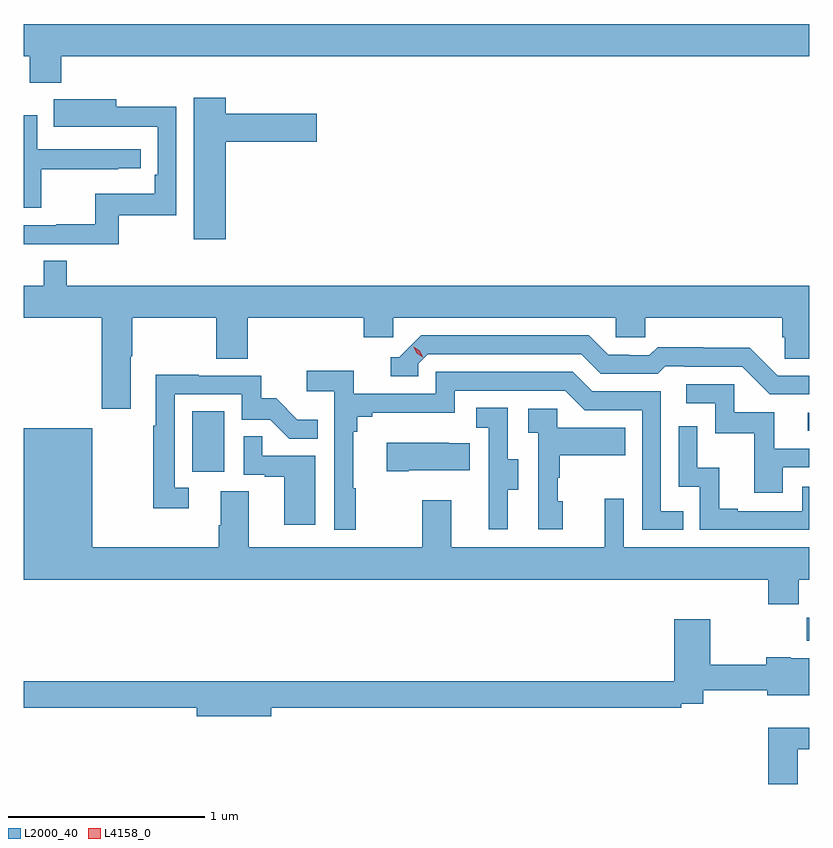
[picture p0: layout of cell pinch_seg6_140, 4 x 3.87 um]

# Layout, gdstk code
import gdstk
lib = gdstk.Library(unit=1e-6, precision=1e-09)
def R(c, l, rs):  # rectangles x0, y0, x1, y1
    for r in rs: c.add(gdstk.rectangle(r[:2], r[2:], *l))
def P(c, l, *ps):  # polygons
    for p in ps: c.add(gdstk.Polygon(p, *l))
L2000_40 = (2000, 40)
L4158_0 = (4158, 0)

pinch_seg6_140 = lib.new_cell('pinch_seg6_140')
R(pinch_seg6_140, L2000_40, [(1000.282,920.384,1000.296,920.503), (997.154,921.246,997.318,921.553), (1000.287,921.453,1000.296,921.546)])
P(pinch_seg6_140, L2000_40, [(996.488,923.36),(1000.296,923.36),(1000.296,923.524),(996.296,923.524),(996.296,923.36),(996.328,923.36),(996.328,923.225),(996.488,923.225)],
  [(997.324,922.925),(997.789,922.925),(997.789,923.067),(997.324,923.067),(997.324,923.149),(997.163,923.149),(997.163,922.428),(997.324,922.428)],
  [(996.781,922.551),(997.074,922.551),(997.074,923.102),(996.769,923.102),(996.769,923.14),(996.451,923.14),(996.451,923),(996.665,923),(996.665,923.001),(996.978,923.001),(996.978,922.756),(996.965,922.756),(996.965,922.66),(996.66,922.66),(996.66,922.505),(996.463,922.505),(996.463,922.5),(996.296,922.5),(996.296,922.404),(996.781,922.404)],
  [(996.386,922.786),(996.779,922.786),(996.779,922.791),(996.892,922.791),(996.892,922.887),(996.366,922.887),(996.366,923.059),(996.296,923.059),(996.296,922.59),(996.386,922.59)],
  [(996.841,921.832),(996.849,921.832),(996.849,922.028),(997.276,922.028),(997.276,921.82),(997.436,921.82),(997.436,922.028),(998.027,922.028),(998.027,921.93),(998.178,921.93),(998.178,922.028),(999.309,922.028),(999.309,921.93),(999.459,921.93),(999.459,922.028),(1000.157,922.028),(1000.157,921.93),(1000.171,921.93),(1000.171,921.82),(1000.296,921.82),(1000.296,922.192),(996.515,922.192),(996.515,922.319),(996.399,922.319),(996.399,922.192),(996.296,922.192),(996.296,922.028),(996.694,922.028),(996.694,921.567),(996.841,921.567)],
  [(1000.296,921.735),(1000.134,921.735),(999.992,921.877),(999.756,921.877),(999.756,921.88),(999.523,921.88),(999.481,921.837),(999.378,921.837),(999.378,921.84),(999.271,921.84),(999.172,921.939),(998.319,921.939),(998.208,921.828),(998.165,921.828),(998.165,921.732),(998.304,921.732),(998.304,921.795),(998.352,921.843),(999.135,921.843),(999.234,921.744),(999.523,921.744),(999.562,921.783),(999.661,921.783),(999.661,921.78),(999.954,921.78),(1000.095,921.639),(1000.296,921.639)],
  [(997.987,921.161),(997.975,921.161),(997.975,921.449),(997.994,921.449),(997.994,921.526),(998.071,921.526),(998.071,921.545),(998.49,921.545),(998.49,921.657),(999.054,921.657),(999.153,921.558),(999.444,921.558),(999.444,920.949),(999.653,920.949),(999.653,921.045),(999.54,921.045),(999.54,921.654),(999.19,921.654),(999.091,921.753),(998.394,921.753),(998.394,921.642),(997.976,921.642),(997.976,921.758),(997.737,921.758),(997.737,921.656),(997.878,921.656),(997.878,920.949),(997.987,920.949)],
  [(997.138,921.165),(997.065,921.165),(997.065,921.639),(997.407,921.639),(997.407,921.51),(997.551,921.51),(997.649,921.412),(997.793,921.412),(997.793,921.511),(997.689,921.511),(997.582,921.618),(997.506,921.618),(997.506,921.735),(997.187,921.735),(997.187,921.74),(996.969,921.74),(996.969,921.479),(996.957,921.479),(996.957,921.06),(997.138,921.06)],
  [(1000.159,921.267),(1000.296,921.267),(1000.296,921.363),(1000.117,921.363),(1000.117,921.549),(999.912,921.549),(999.912,921.69),(999.669,921.69),(999.669,921.594),(999.816,921.594),(999.816,921.441),(1000.015,921.441),(1000.015,921.138),(1000.159,921.138)],
  [(998.761,921.154),(998.815,921.154),(998.815,921.309),(998.76,921.309),(998.76,921.572),(998.601,921.572),(998.601,921.469),(998.664,921.469),(998.664,921.165),(998.663,921.165),(998.663,920.952),(998.761,920.952)],
  [(999.04,921.096),(999.015,921.096),(999.015,921.215),(999.025,921.215),(999.025,921.329),(999.359,921.329),(999.359,921.469),(999.012,921.469),(999.012,921.567),(998.865,921.567),(998.865,921.443),(998.916,921.443),(998.916,920.952),(999.04,920.952)],
  [(1000.296,921.168),(1000.26,921.168),(1000.26,921.045),(999.931,921.045),(999.931,921.058),(999.836,921.058),(999.836,921.266),(999.726,921.266),(999.726,921.478),(999.63,921.478),(999.63,921.168),(999.738,921.168),(999.738,920.949),(1000.296,920.949)],
  [(1000.241,920.696),(1000.296,920.696),(1000.296,920.86),(999.351,920.86),(999.351,921.109),(999.254,921.109),(999.254,920.86),(998.473,920.86),(998.473,921.1),(998.326,921.1),(998.326,920.86),(997.441,920.86),(997.441,921.146),(997.301,921.146),(997.301,920.972),(997.289,920.972),(997.289,920.86),(996.646,920.86),(996.646,921.466),(996.296,921.466),(996.296,920.696),(1000.085,920.696),(1000.085,920.572),(1000.241,920.572)],
  [(997.78,921.327),(997.511,921.327),(997.511,921.425),(997.416,921.425),(997.416,921.231),(997.523,921.231),(997.523,921.219),(997.622,921.219),(997.622,920.976),(997.78,920.976)],
  [(998.257,921.254),(998.567,921.254),(998.567,921.391),(998.459,921.391),(998.459,921.394),(998.145,921.394),(998.145,921.247),(998.257,921.247)],
  [(997.558,920.044),(999.644,920.044),(999.644,920.064),(999.756,920.064),(999.756,920.134),(1000.082,920.134),(1000.082,920.108),(1000.296,920.108),(1000.296,920.296),(1000.2,920.296),(1000.2,920.302),(1000.075,920.302),(1000.075,920.263),(999.791,920.263),(999.791,920.494),(999.608,920.494),(999.608,920.18),(996.296,920.18),(996.296,920.044),(997.178,920.044),(997.178,920.002),(997.558,920.002)],
  [(1000.237,919.833),(1000.296,919.833),(1000.296,919.942),(1000.085,919.942),(1000.085,919.656),(1000.237,919.656)])
P(pinch_seg6_140, L4158_0, [(998.327,921.828),(998.296,921.848),(998.281,921.881),(998.281,921.881),(998.281,921.881),(998.312,921.861),(998.327,921.828),(998.327,921.828)])

lib.write_gds('pinch_seg6_140.gds')
